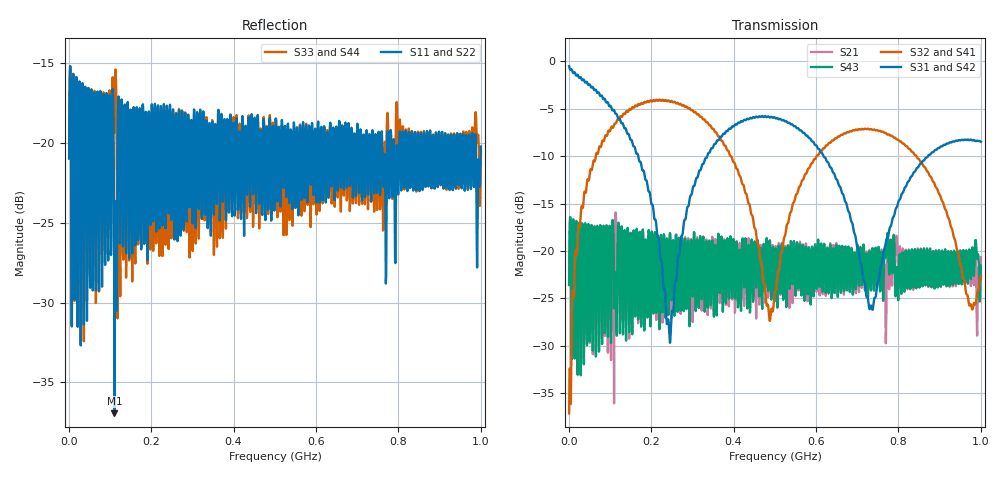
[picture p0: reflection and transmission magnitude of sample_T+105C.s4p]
! synthetic lab measurement T=105C
! synthetic measurement, noise -85.0 dB
# Hz S RI R 50
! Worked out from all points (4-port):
!   1201 points, 1 MHz to 1 GHz, reference 50 ohm
!   strongest paths, dB at 1 MHz, 250.8 MHz, 500.5 MHz, 750.2 MHz, 1 GHz:
!     S31: -0.5, -26.3, -6.0, -23.3, -8.5
!     S42: -0.5, -26.3, -6.0, -23.2, -8.5
!     S32: -37.1, -4.2, -24.3, -7.3, -22.6
!     S41: -37.0, -4.2, -24.3, -7.3, -22.7
!     S43: -23.6, -22.4, -21.9, -20.7, -21.5
!     S21: -23.6, -23.3, -21.7, -20.9, -20.7
!   lowest |S11| = -36.9 dB at 110.9 MHz (marker M1), VSWR 1.03, Z = 49.3 - j1.24 ohm
!   |S11| at or under -10 dB: start of sweep to end of sweep
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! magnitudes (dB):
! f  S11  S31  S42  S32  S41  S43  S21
! 1 MHz  -21.0  -0.5  -0.5  -37.1  -37.0  -23.6  -23.6
! 110.9 MHz  -36.9  -5.2  -5.2  -6.6  -6.6  -26.1  -24.6
! 243.3 MHz  -21.7  -28.1  -28.1  -4.2  -4.2  -22.7  -22.3
! 408.1 MHz  -18.9  -6.7  -6.7  -11.3  -11.3  -19.5  -19.5
! 490.5 MHz  -22.8  -5.9  -5.9  -26.4  -26.4  -23.1  -22.7
! 733.6 MHz  -23.7  -25.8  -25.7  -7.1  -7.1  -24.1  -24.2
! 1 GHz  -20.2  -8.5  -8.5  -22.6  -22.7  -21.5  -20.7
